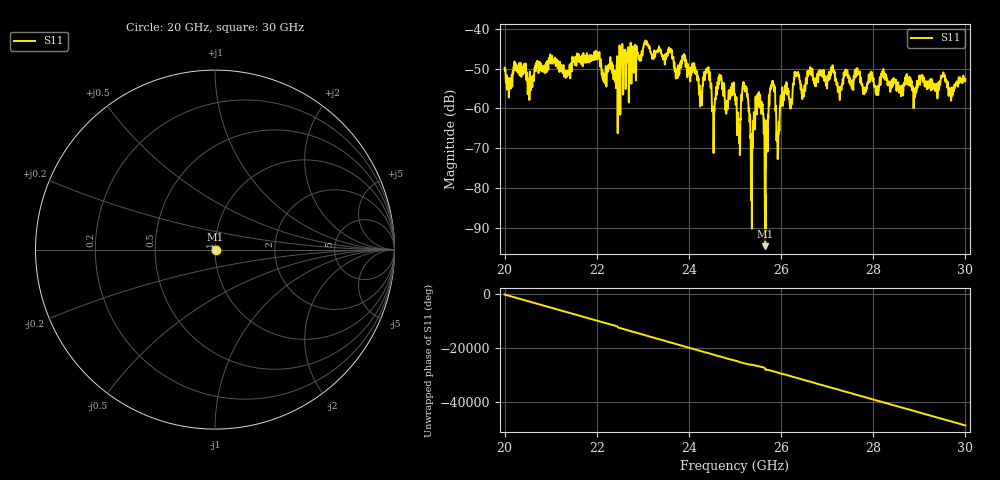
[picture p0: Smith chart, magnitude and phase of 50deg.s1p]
#  HZ  S  RI  R  50.00
! Rohde & Schwarz ZVA40 4Ports - Version 3.90 - 1145.1110k42 SN: 100403
! Date: 2023-10-03 12:56:19
! Measurement: S12
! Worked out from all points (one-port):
!   5001 points, 20 GHz to 30 GHz, reference 50 ohm
!   lowest |S11| = -94.5 dB at 25.65 GHz (marker M1), VSWR 1.00, Z = 50 + j0.00143 ohm
!   |S11| at or under -10 dB: start of sweep to end of sweep
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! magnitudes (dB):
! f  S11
! 20 GHz  -49.8
! 21.25 GHz  -50.7
! 21.99 GHz  -46.7
! 22.16 GHz  -51.8
! 22.5 GHz  -46.3
! 23.07 GHz  -43.9
! 23.75 GHz  -52.1
! 23.9 GHz  -47.1
! 24.26 GHz  -56.6
! 24.41 GHz  -49.9
! 24.54 GHz  -65.0
! 24.67 GHz  -51.5
! 25 GHz  -58.0
! 25.08 GHz  -65.8
! 25.22 GHz  -54.9
! 25.37 GHz  -72.1
! 25.55 GHz  -58.2
! 25.65 GHz  -94.5
! 25.8 GHz  -54.2
! 25.93 GHz  -72.7
! 26.07 GHz  -56.2
! 26.25 GHz  -55.5
! 26.34 GHz  -51.3
! 26.47 GHz  -55.4
! 26.64 GHz  -50.1
! 27.5 GHz  -52.7
! 28.75 GHz  -52.3
! 30 GHz  -52.6
